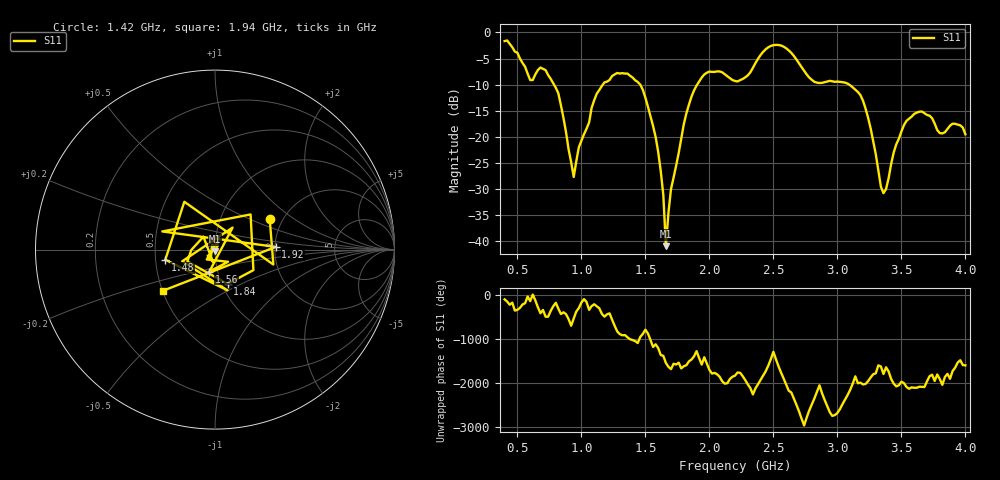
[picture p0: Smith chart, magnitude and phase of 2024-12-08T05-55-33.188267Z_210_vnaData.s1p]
!Created with skrf (http://scikit-rf.org).
# Hz S RI R 50.0
!freq ReS11 ImS11
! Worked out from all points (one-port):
!   181 points, 400 MHz to 4 GHz, reference 50 ohm
!   lowest |S11| = -40.9 dB at 1.66 GHz (marker M1), VSWR 1.02, Z = 49.8 - j0.864 ohm
!   |S11| at or under -10 dB: 786 MHz to 1.167 GHz (380.9 MHz wide, 39 % of centre); 1.46 GHz to 1.904 GHz (443.9 MHz wide, 26.4 % of centre); 3.093 GHz to end of sweep
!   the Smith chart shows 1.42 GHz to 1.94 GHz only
!   S11 on the Smith chart (normalised r, x): 1.42 GHz: 1.72, +0.66; 1.48 GHz: 0.56, -0.07; 1.56 GHz: 0.91, -0.23; 1.84 GHz: 1.06, -0.42; 1.92 GHz: 2.02, +0.07; 1.94 GHz: 0.50, -0.27
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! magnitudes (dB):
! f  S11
! 400 MHz  -1.6
! 600 MHz  -9.1
! 720 MHz  -7.2
! 860 MHz  -16.4
! 940 MHz  -27.7
! 980 MHz  -22.0
! 1.12 GHz  -11.7
! 1.3 GHz  -7.9
! 1.42 GHz  -9.1
! 1.48 GHz  -11.0
! 1.56 GHz  -17.9
! 1.64 GHz  -31.1
! 1.66 GHz  -40.9
! 1.7 GHz  -30.0
! 1.76 GHz  -23.1
! 1.84 GHz  -13.8
! 1.92 GHz  -9.4
! 1.94 GHz  -8.6
! 2.2 GHz  -9.3
! 2.48 GHz  -2.6
! 2.66 GHz  -4.5
! 2.82 GHz  -9.4
! 3.1 GHz  -10.1
! 3.22 GHz  -14.6
! 3.36 GHz  -30.8
! 3.46 GHz  -21.4
! 3.56 GHz  -16.5
! 4 GHz  -19.5
